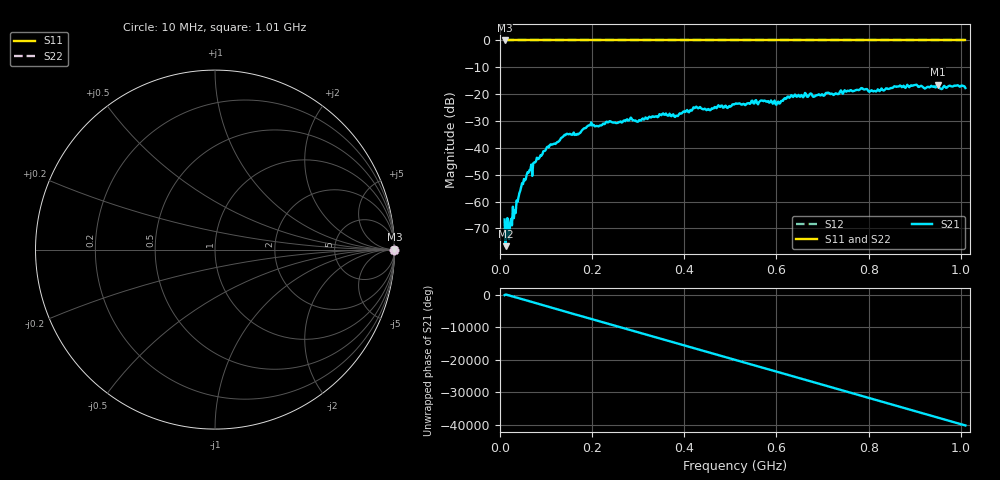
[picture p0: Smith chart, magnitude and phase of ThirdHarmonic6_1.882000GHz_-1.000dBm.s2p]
! 8/16/2025 10:44:18 PM
! C:\ANRITSUVNA\TEMP\TEMP.S2P
! CHANNEL.1
! TR.MEASUREMENT
! RAW.DATA
! RF.CORRECTION.OFF
! AVERAGING.OFF
! IF.BANDWIDTH: 5KHZ
! SWEEPTYPE:  FREQ.SWEEP(Linear)
! Reference Plane Port Info
! PORT:  PORT1  PORT2
! DISTANCE:  0  m  0  m
! TIME:  0  s  0  s
! PHASE.OFFSET:  0  deg.  0  deg.
! LOSS:  0  dB  0  dB
! REF.LOSS:  0  dB  0  dB
! REF.FREQ:  0  Hz  0  Hz
! Power Info
! POWER:  -20  dBm  -20  dBm
! EFF.POWER:  -20  dBm  -20  dBm
! SOURCE.ATTEN:  0  dB  0  dB
! TEST.ATTEN:  0  dB  0  dB
# GHZ S RI R 50.0
! FREQ.GHZ  S11RE  S11IM  S21RE  S21IM  S12RE  S12IM  S22RE  S22IM
!; PortSelection: Port_12
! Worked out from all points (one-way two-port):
!   501 points, 10 MHz to 1.01 GHz, reference 50 ohm
!   highest |S21| = -16.41 dB at 950 MHz (marker M1); lowest = -76.6 dB at 12 MHz (marker M2)
!   lowest |S11| = 0.0 dB at 10 MHz (marker M3)
!   |S11| at or under -10 dB: nowhere
!   |S22| runs from 0.0 to 0.0 dB; largest |S21 - S12| = 1.1
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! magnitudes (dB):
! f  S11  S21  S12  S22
! 10 MHz  0.0  -66.7  0.0  0.0
! 12 MHz  0.0  -76.6  0.0  0.0
! 16 MHz  0.0  -66.1  0.0  0.0
! 22 MHz  0.0  -67.9  0.0  0.0
! 26 MHz  0.0  -68.8  0.0  0.0
! 48 MHz  0.0  -53.1  0.0  0.0
! 76 MHz  0.0  -45.4  0.0  0.0
! 106 MHz  0.0  -39.8  0.0  0.0
! 142 MHz  0.0  -35.3  0.0  0.0
! 178 MHz  0.0  -33.4  0.0  0.0
! 194 MHz  0.0  -31.5  0.0  0.0
! 344 MHz  0.0  -28.3  0.0  0.0
! 382 MHz  0.0  -28.0  0.0  0.0
! 424 MHz  0.0  -25.0  0.0  0.0
! 452 MHz  0.0  -25.5  0.0  0.0
! 510 MHz  0.0  -23.6  0.0  0.0
! 602 MHz  0.0  -22.9  0.0  0.0
! 636 MHz  0.0  -21.1  0.0  0.0
! 678 MHz  0.0  -20.7  0.0  0.0
! 844 MHz  0.0  -18.1  0.0  0.0
! 950 MHz  0.0  -16.4  0.0  0.0
! 1.01 GHz  0.0  -17.7  0.0  0.0
